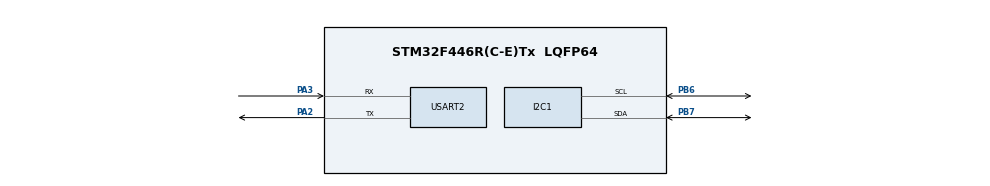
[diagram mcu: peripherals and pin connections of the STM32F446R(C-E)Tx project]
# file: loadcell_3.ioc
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Mcu.Family=STM32F4
Mcu.Name=STM32F446R(C-E)Tx
Mcu.Package=LQFP64
NVIC.I2C1_ER_IRQn=true\:0\:0\:false\:false\:true\:true\:true\:true
NVIC.I2C1_EV_IRQn=true\:0\:0\:false\:false\:true\:true\:true\:true
NVIC.PriorityGroup=NVIC_PRIORITYGROUP_4
NVIC.USART2_IRQn=true\:0\:0\:false\:false\:true\:true\:true\:true
PA2.Mode=Asynchronous
PA2.Signal=USART2_TX
PA3.Mode=Asynchronous
PA3.Signal=USART2_RX
PB6.Mode=I2C
PB6.Signal=I2C1_SCL
PB7.Mode=I2C
PB7.Signal=I2C1_SDA
ProjectManager.HeapSize=0x200
ProjectManager.StackSize=0x400
ProjectManager.TargetToolchain=STM32CubeIDE
RCC.CortexFreq_Value=16000000
RCC.USBFreq_Value=96000000
RCC.VCOOutputFreq_Value=192000000
USART2.VirtualMode=VM_ASYNC
board=custom

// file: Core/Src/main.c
/* USER CODE BEGIN Header */
/**
  ******************************************************************************
  * @file           : main.c
  * @brief          : Main program body
  ******************************************************************************
  * @attention
  *
  * Copyright (c) 2022 STMicroelectronics.
  * All rights reserved.
  *
  * This software is licensed under terms that can be found in the LICENSE file
  * in the root directory of this software component.
  * If no LICENSE file comes with this software, it is provided AS-IS.
  *
  ******************************************************************************
  */
/* USER CODE END Header */
#include "main.h"

/* USER CODE BEGIN Includes */
#include "hx711.h"
#include <stdio.h>
#include <string.h>
/* USER CODE END Includes */

/* USER CODE BEGIN PTD */
HX711 sensor;
/* USER CODE END PTD */

I2C_HandleTypeDef hi2c1;

UART_HandleTypeDef huart2;

/* USER CODE BEGIN PV */
char uart_buf[30];
/* USER CODE END PV */

void SystemClock_Config(void);
static void MX_GPIO_Init(void);
static void MX_USART2_UART_Init(void);
static void MX_I2C1_Init(void);

int main(void)
{
  /* USER CODE BEGIN 1 */
	sensor.PD_SCK_PinType=GPIOB;
	sensor.PD_SCK_PinNumber=GPIO_PIN_6;
	sensor.DOUT_PinType=GPIOB;
	sensor.DOUT_PinNumber=GPIO_PIN_7;
	sensor.mode=0;
    sensor.SCALE = 1.f;
  /* USER CODE END 1 */

  /* MCU Configuration--------------------------------------------------------*/

  /* Reset of all peripherals, Initializes the Flash interface and the Systick. */
  HAL_Init();

  /* Configure the system clock */
  SystemClock_Config();

  /* Initialize all configured peripherals */
  MX_GPIO_Init();
  MX_USART2_UART_Init();
  MX_I2C1_Init();

  /* Infinite loop */
  /* USER CODE BEGIN WHILE */
  while (1)
  {
	   int data = HX711_GetAvgValue(&sensor, 4);
	   memset(uart_buf,0,30);
	   sprintf(uart_buf, "data : %d\n\r", data);
	   HAL_UART_Transmit_IT(&huart2, uart_buf, sizeof(uart_buf));

    /* USER CODE END WHILE */

  }
}

void SystemClock_Config(void)
{
  RCC_OscInitTypeDef RCC_OscInitStruct = {0};
  RCC_ClkInitTypeDef RCC_ClkInitStruct = {0};

  /** Configure the main internal regulator output voltage
  */
  __HAL_RCC_PWR_CLK_ENABLE();
  __HAL_PWR_VOLTAGESCALING_CONFIG(PWR_REGULATOR_VOLTAGE_SCALE3);

  /** Initializes the RCC Oscillators according to the specified parameters
  * in the RCC_OscInitTypeDef structure.
  */
  RCC_OscInitStruct.OscillatorType = RCC_OSCILLATORTYPE_HSI;
  RCC_OscInitStruct.HSIState = RCC_HSI_ON;
  RCC_OscInitStruct.HSICalibrationValue = RCC_HSICALIBRATION_DEFAULT;
  RCC_OscInitStruct.PLL.PLLState = RCC_PLL_NONE;
  if (HAL_RCC_OscConfig(&RCC_OscInitStruct) != HAL_OK)
  {
    Error_Handler();
  }

  /** Initializes the CPU, AHB and APB buses clocks
  */
  RCC_ClkInitStruct.ClockType = RCC_CLOCKTYPE_HCLK|RCC_CLOCKTYPE_SYSCLK
                              |RCC_CLOCKTYPE_PCLK1|RCC_CLOCKTYPE_PCLK2;
  RCC_ClkInitStruct.SYSCLKSource = RCC_SYSCLKSOURCE_HSI;
  RCC_ClkInitStruct.AHBCLKDivider = RCC_SYSCLK_DIV1;
  RCC_ClkInitStruct.APB1CLKDivider = RCC_HCLK_DIV1;
  RCC_ClkInitStruct.APB2CLKDivider = RCC_HCLK_DIV1;

  if (HAL_RCC_ClockConfig(&RCC_ClkInitStruct, FLASH_LATENCY_0) != HAL_OK)
  {
    Error_Handler();
  }
}

static void MX_I2C1_Init(void)
{

  hi2c1.Instance = I2C1;
  hi2c1.Init.ClockSpeed = 100000;
  hi2c1.Init.DutyCycle = I2C_DUTYCYCLE_2;
  hi2c1.Init.OwnAddress1 = 0;
  hi2c1.Init.AddressingMode = I2C_ADDRESSINGMODE_7BIT;
  hi2c1.Init.DualAddressMode = I2C_DUALADDRESS_DISABLE;
  hi2c1.Init.OwnAddress2 = 0;
  hi2c1.Init.GeneralCallMode = I2C_GENERALCALL_DISABLE;
  hi2c1.Init.NoStretchMode = I2C_NOSTRETCH_DISABLE;
  if (HAL_I2C_Init(&hi2c1) != HAL_OK)
  {
    Error_Handler();
  }

}

static void MX_USART2_UART_Init(void)
{

  huart2.Instance = USART2;
  huart2.Init.BaudRate = 115200;
  huart2.Init.WordLength = UART_WORDLENGTH_8B;
  huart2.Init.StopBits = UART_STOPBITS_1;
  huart2.Init.Parity = UART_PARITY_NONE;
  huart2.Init.Mode = UART_MODE_TX_RX;
  huart2.Init.HwFlowCtl = UART_HWCONTROL_NONE;
  huart2.Init.OverSampling = UART_OVERSAMPLING_16;
  if (HAL_UART_Init(&huart2) != HAL_OK)
  {
    Error_Handler();
  }

}

static void MX_GPIO_Init(void)
{

  /* GPIO Ports Clock Enable */
  __HAL_RCC_GPIOA_CLK_ENABLE();
  __HAL_RCC_GPIOB_CLK_ENABLE();

}

void Error_Handler(void)
{
  __disable_irq();
  while (1)
  {
  }
}
